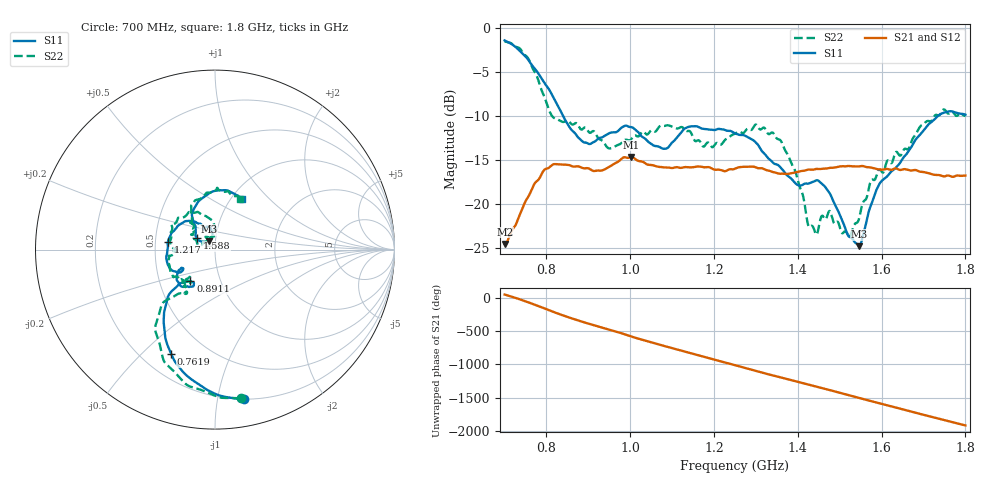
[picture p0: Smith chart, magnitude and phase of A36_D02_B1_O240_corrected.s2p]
! Created with skrf 1.9.0 (http://scikit-rf.org).
# Hz S RI R 50.0
!freq ReS11 ImS11 ReS21 ImS21 ReS12 ImS12 ReS22 ImS22
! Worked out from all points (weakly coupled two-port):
!   1601 points, 700 MHz to 1.8 GHz, reference 50 ohm
!   highest |S21| = -14.69 dB at 1.002 GHz (marker M1); lowest = -24.6 dB at 700.7 MHz (marker M2)
!   lowest |S11| = -24.8 dB at 1.546 GHz (marker M3), VSWR 1.12, Z = 46.5 + j4.27 ohm
!   |S11| at or under -10 dB: 839.5 MHz to 1.734 GHz (894.9 MHz wide, 69.5 % of centre)
!   |S22| runs from -23.7 to -1.5 dB; largest |S21 - S12| = 0.0034
!   S11 on the Smith chart (normalised r, x): 700 MHz: 0.20, -1.19; 761.9 MHz: 0.32, -0.62; 891.1 MHz: 0.72, -0.27; 1.217 GHz: 0.58, +0.06; 1.588 GHz: 0.81, +0.11; 1.8 GHz: 1.12, +0.71
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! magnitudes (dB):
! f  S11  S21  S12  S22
! 700 MHz  -1.4  -24.6  -24.3  -1.5
! 700.7 MHz  -1.4  -24.6  -24.3  -1.5
! 761.9 MHz  -4.0  -18.7  -18.6  -4.0
! 814.1 MHz  -7.7  -15.6  -15.6  -10.1
! 883.6 MHz  -12.8  -15.9  -15.8  -11.6
! 891.1 MHz  -13.0  -16.0  -16.0  -11.3
! 949.6 MHz  -12.0  -15.8  -15.8  -13.7
! 1.002 GHz  -11.3  -14.7  -14.8  -12.7
! 1.067 GHz  -13.5  -15.8  -15.7  -11.3
! 1.14 GHz  -11.2  -15.9  -15.8  -11.7
! 1.217 GHz  -11.5  -16.2  -16.2  -13.3
! 1.25 GHz  -12.0  -16.0  -15.9  -12.0
! 1.3 GHz  -13.0  -15.9  -15.9  -11.0
! 1.359 GHz  -15.9  -16.6  -16.6  -12.8
! 1.434 GHz  -17.5  -16.1  -16.1  -22.5
! 1.476 GHz  -18.8  -15.9  -15.9  -20.8
! 1.523 GHz  -23.8  -15.7  -15.7  -23.7
! 1.546 GHz  -24.8  -15.7  -15.7  -21.6
! 1.588 GHz  -18.4  -16.0  -16.0  -16.8
! 1.617 GHz  -16.7  -16.1  -16.0  -15.1
! 1.737 GHz  -9.9  -16.7  -16.8  -10.0
! 1.8 GHz  -9.9  -16.8  -16.8  -10.0
